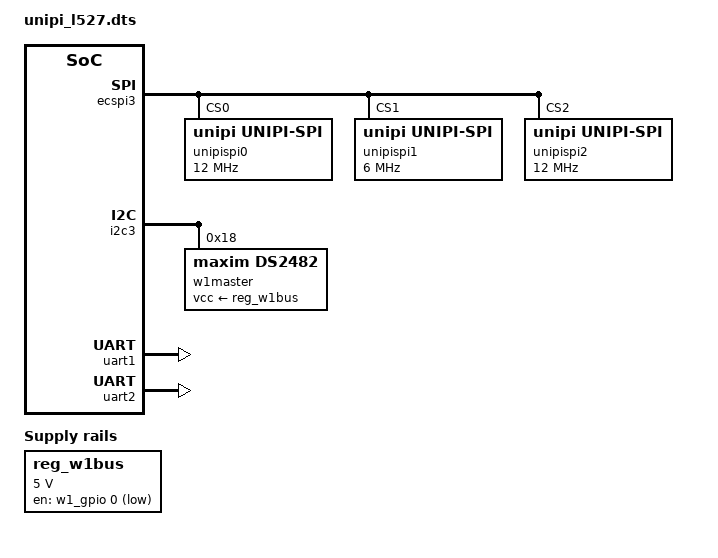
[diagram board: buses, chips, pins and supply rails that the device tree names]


/dts-v1/;
/plugin/;
/ {
	compatible = "unipi,zulu";

	fragment@0 {
		target = <&ecspi3>;
		__overlay__ {
			status = "okay";
			#address-cells = <1>;
			#size-cells = <0>;unipispi0: unipispi@0 {
				compatible = "unipi,unipi-spi";
				reg = <0>;
				spi-max-frequency = <12000000>;
				status = "okay";
				modbus-address = <1>;
				#address-cells = <1>;
				#size-cells = <0>;
				iogroup1: iogroup1 {
					reg = <1>;
					compatible = "unipi,unipi-mfd", "iogroup";
					fw_variant = <0x0010>, <0x0020>, <0x0030>;
					fw_name = "B-1000-1", "B-1000-2", "B-1000-3";
					board_name = "B-1000-1";
					sys_board_name = "B_1000";
					cycle_counter = <1032>;
					master_watchdog_enable = <6>;

					di {
						compatible = "unipi,gpio-di";
						gpio-controller;
						#gpio-cells = <2>;
						gpio-line-names = "DI1_1", "DI1_2", "DI1_3", "DI1_4";
						ngpio = <4>;
						value-reg = <0>;
						debounce-reg = <1010>;
						counter-reg = <8>;
					};
					do {
						compatible = "unipi,gpio-do";
						ngpio = <4>;
						value-coil = <0>;
						gpio-controller;
						#gpio-cells = <2>;
						gpio-line-names = "DO1_1", "DO1_2", "DO1_3", "DO1_4";
					};
					aio {
						compatible = "unipi,aio_legacy";
						ai-value-reg = <3>;
						ai-mode-reg = <1024>;
						ao-value-reg = <2>;
						ao-mode-reg = <1019>;
					};
					uart {
						compatible = "unipi,uart";
						port-count = <1>;
						port-line = <0>;
					};
					led {
						compatible = "unipi,leds";
						coil-range = <8 4>;
						label-prefix = "unipi:green:uled-x";
					};
					sysleds0:sysled {
						compatible = "unipi,leds";
						coil-range = <12 6>;
						#address-cells = <1>;
						#size-cells = <0>;
						label-prefix = "unipi:green:sysled-x";
					};
					w1_gpio: w1-gpio {
						compatible = "unipi,gpio-do";
						ngpio = <1>;
						value-coil = <1001>;
						gpio-controller;
						#gpio-cells = <2>;
						gpio-line-names = "W1-VCC";
					};
				};
			};
		unipispi1: unipispi@1 {
				compatible = "unipi,unipi-spi";
				reg = <1>;
				spi-max-frequency = <6000000>;
				status = "okay";
				modbus-address = <2>;
				#address-cells = <1>;
				#size-cells = <0>;
				iogroup2: iogroup2 {
					reg = <2>;
					compatible = "unipi,unipi-mfd", "iogroup";
					fw_variant = <0x1310>;
					fw_name = "E-4Ai4Ao_U-4Di5Ro-1";
					board_name = "E-4Ai4Ao-1";
					sys_board_name = "E_4Ai4Ao_U_4Di5Ro";
					cycle_counter = <1024>;
					master_watchdog_enable = <14>;

					di {
						compatible = "unipi,gpio-di";
						gpio-controller;
						#gpio-cells = <2>;
						gpio-line-names = "DI2_1","DI2_2","DI2_3","DI2_4";
						ngpio = <4>;
						value-reg = <0>;
						debounce-reg = <1010>;
						counter-reg = <16>;
					};
					do {
						compatible = "unipi,gpio-ro";
						ngpio = <5>;
						value-coil = <0>;
						gpio-controller;
						#gpio-cells = <2>;
						gpio-line-names = "RO2_1","RO2_2","RO2_3","RO2_4","RO2_5";
					};
					ai_chip {
						compatible = "unipi,ai";
						io-count = <4>;
						io-value-reg = <6>;
						io-mode-reg = <1019>;
					};
					ao_chip {
						compatible = "unipi,ao";
						io-count = <4>;
						io-value-reg = <2>;
					};
					uart {
						compatible = "unipi,uart";
						port-count = <1>;
						port-line = <1>;
					};
				};
			};
		unipispi2: unipispi@2 {
				compatible = "unipi,unipi-spi";
				reg = <2>;
				spi-max-frequency = <12000000>;
				status = "okay";
				modbus-address = <3>;
				#address-cells = <1>;
				#size-cells = <0>;
				iogroup3: iogroup3 {
					reg = <3>;
					compatible = "unipi,unipi-mfd", "iogroup";
					fw_variant = <0x0810>;
					fw_name = "E-16Di_U-14Ro-1";
					board_name = "E-16Di_U-14Ro-1";
					sys_board_name = "E_16Di_U_14Ro";
					cycle_counter = <1031>;
					master_watchdog_enable = <2>;

					di {
						compatible = "unipi,gpio-di";
						gpio-controller;
						#gpio-cells = <2>;
						gpio-line-names = "DI3_1","DI3_2","DI3_3","DI3_4","DI3_5","DI3_6","DI3_7","DI3_8","DI3_9","DI3_10","DI3_11","DI3_12","DI3_13","DI3_14","DI3_15","DI3_16";
						ngpio = <16>;
						value-reg = <0>;
						debounce-reg = <1010>;
						counter-reg = <3>;
					};
					do {
						compatible = "unipi,gpio-ro";
						ngpio = <14>;
						value-coil = <0>;
						gpio-controller;
						#gpio-cells = <2>;
						gpio-line-names = "RO3_1","RO3_2","RO3_3","RO3_4","RO3_5","RO3_6","RO3_7","RO3_8","RO3_9","RO3_10","RO3_11","RO3_12","RO3_13","RO3_14";
					};
				};
			};
		
		};
	};

	fragment@1 {
		target = <&usbotg1>;
		__overlay__ {
			#address-cells = <1>;
			#size-cells = <0>;
			usbslot1: usbslot1@1 {
				reg = <1>;
			};
		};
	};
	fragment@13 {
		target-path = "/";
		__overlay__ {
			reg_w1bus: regulator-w1bus {
				compatible = "regulator-fixed";
				regulator-name = "w1-vcc";
				regulator-min-microvolt = <5000000>;
				regulator-max-microvolt = <5000000>;
				gpios = <&w1_gpio 0 1>;
				startup-delay-us = <100000>;
			};
		};
	};
	fragment@14 {
		target = <&i2c3>;
		__overlay__ {
			#address-cells = <1>;
			#size-cells = <0>;
			w1master:w1master@18 {
				compatible = "maxim,ds2482";
				reg = <0x18>;
				status = "okay";
				vcc-supply = <&reg_w1bus>;
			};
		};
	};

	
	fragment@10 {
		target = <&uart1>;
		__overlay__ {
			status = "okay";
			linux,rs485-enabled-at-boot-time;
		};
	};
	fragment@11 {
		target = <&uart2>;
		__overlay__ {
			status = "okay";
		};
	};


};


&iogroup1 {
	pinctrl-names = "default";
	pinctrl-0 = <&pinctrl_slotirq0>; 
	interrupt-parent = <&gpio4>;
	interrupts = <23 1>; /* EDGE RISING*/
};





&iogroup3 {
	pinctrl-names = "default";
	pinctrl-0 = <&pinctrl_slotirq1>; /* swapped INT1 and INT2 */
	interrupt-parent = <&gpio5>;
	interrupts = <20 1>; /* EDGE RISING*/
};



&sysleds0 {
	rs232-2-txled@2 {
		reg = <2>;
		linux,default-trigger = "ttymxc1-tx";
	};
	rs232-2-rxled@3 {
		reg = <3>;
		linux,default-trigger = "ttymxc1-rx";
	};
	rs485-3-txled@4 {
		reg = <4>;
		linux,default-trigger = "ttymxc0-tx";
	};
	rs485-3-rxled@5 {
		reg = <5>;
		linux,default-trigger = "ttymxc0-rx";
	};
};
